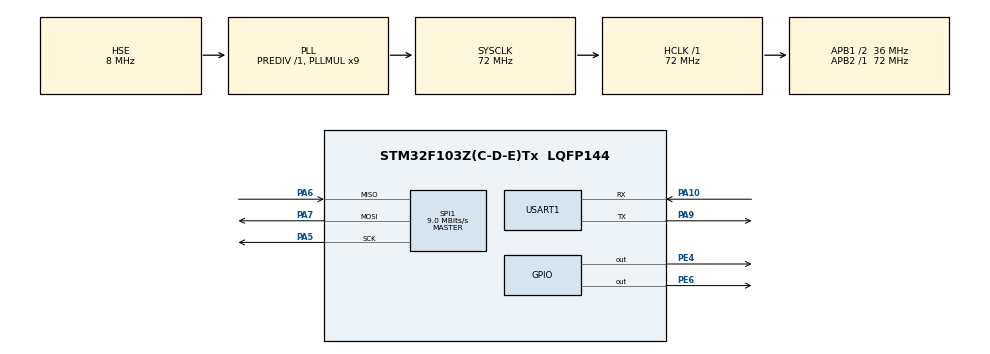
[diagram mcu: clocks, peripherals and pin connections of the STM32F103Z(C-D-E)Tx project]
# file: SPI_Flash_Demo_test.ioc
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Mcu.Family=STM32F1
Mcu.Name=STM32F103Z(C-D-E)Tx
Mcu.Package=LQFP144
NVIC.PriorityGroup=NVIC_PRIORITYGROUP_4
OSC_IN.Mode=HSE-External-Oscillator
OSC_IN.Signal=RCC_OSC_IN
OSC_OUT.Mode=HSE-External-Oscillator
OSC_OUT.Signal=RCC_OSC_OUT
PA10.Mode=Asynchronous
PA10.Signal=USART1_RX
PA13.Mode=Serial_Wire
PA13.Signal=SYS_JTMS-SWDIO
PA14.Mode=Serial_Wire
PA14.Signal=SYS_JTCK-SWCLK
PA5.Mode=Full_Duplex_Master
PA5.Signal=SPI1_SCK
PA6.Mode=Full_Duplex_Master
PA6.Signal=SPI1_MISO
PA7.Mode=Full_Duplex_Master
PA7.Signal=SPI1_MOSI
PA9.Mode=Asynchronous
PA9.Signal=USART1_TX
PE4.PinState=GPIO_PIN_SET
PE4.Signal=GPIO_Output
PE6.PinState=GPIO_PIN_SET
PE6.Signal=GPIO_Output
ProjectManager.HeapSize=0x200
ProjectManager.StackSize=0x400
ProjectManager.TargetToolchain=MDK-ARM V5.32
RCC.AHBFreq_Value=72000000
RCC.APB1CLKDivider=RCC_HCLK_DIV2
RCC.APB1Freq_Value=36000000
RCC.APB1TimFreq_Value=72000000
RCC.APB2Freq_Value=72000000
RCC.APB2TimFreq_Value=72000000
RCC.HCLKFreq_Value=72000000
RCC.PLLMUL=RCC_PLL_MUL9
RCC.PLLSourceVirtual=RCC_PLLSOURCE_HSE
RCC.SYSCLKFreq_VALUE=72000000
RCC.SYSCLKSource=RCC_SYSCLKSOURCE_PLLCLK
RCC.USBFreq_Value=72000000
SPI1.BaudRatePrescaler=SPI_BAUDRATEPRESCALER_8
SPI1.CalculateBaudRate=9.0 MBits/s
SPI1.Direction=SPI_DIRECTION_2LINES
SPI1.Mode=SPI_MODE_MASTER
SPI1.VirtualType=VM_MASTER
USART1.Parity=PARITY_ODD
USART1.VirtualMode=VM_ASYNC
USART1.WordLength=WORDLENGTH_9B
board=custom

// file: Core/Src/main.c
/* USER CODE BEGIN Header */
/**
  ******************************************************************************
  * @file           : main.c
  * @brief          : Main program body
  ******************************************************************************
  * @attention
  *
  * Copyright (c) 2026 STMicroelectronics.
  * All rights reserved.
  *
  * This software is licensed under terms that can be found in the LICENSE file
  * in the root directory of this software component.
  * If no LICENSE file comes with this software, it is provided AS-IS.
  *
  ******************************************************************************
  */
/* USER CODE END Header */
#include "main.h"

/* USER CODE BEGIN Includes */
#include "BSP_Usart_Redir.h"
/* USER CODE END Includes */

SPI_HandleTypeDef hspi1;

UART_HandleTypeDef huart1;

void SystemClock_Config(void);
static void MX_GPIO_Init(void);
static void MX_SPI1_Init(void);
static void MX_USART1_UART_Init(void);
/* USER CODE BEGIN PFP */
void W25Qxx_CS_Enable(void);
void W25Qxx_CS_Disable(void);
uint32_t W25Qxx_ReadID_V1(void);
uint32_t W25Qxx_ReadID_V2(void);

/* USER CODE END PFP */

int main(void)
{

  /* MCU Configuration--------------------------------------------------------*/

  /* Reset of all peripherals, Initializes the Flash interface and the Systick. */
  HAL_Init();

  /* Configure the system clock */
  SystemClock_Config();

  /* Initialize all configured peripherals */
  MX_GPIO_Init();
  MX_SPI1_Init();
  MX_USART1_UART_Init();
  /* USER CODE BEGIN 2 */
  BSP_Usart_Init(&huart1);

  uint32_t id = W25Qxx_ReadID_V2();
  printf("ID: 0x%x\n",id);
  /* USER CODE END 2 */

  /* Infinite loop */
  while (1)
  {

  }
}

void SystemClock_Config(void)
{
  RCC_OscInitTypeDef RCC_OscInitStruct = {0};
  RCC_ClkInitTypeDef RCC_ClkInitStruct = {0};

  /** Initializes the RCC Oscillators according to the specified parameters
  * in the RCC_OscInitTypeDef structure.
  */
  RCC_OscInitStruct.OscillatorType = RCC_OSCILLATORTYPE_HSE;
  RCC_OscInitStruct.HSEState = RCC_HSE_ON;
  RCC_OscInitStruct.HSEPredivValue = RCC_HSE_PREDIV_DIV1;
  RCC_OscInitStruct.HSIState = RCC_HSI_ON;
  RCC_OscInitStruct.PLL.PLLState = RCC_PLL_ON;
  RCC_OscInitStruct.PLL.PLLSource = RCC_PLLSOURCE_HSE;
  RCC_OscInitStruct.PLL.PLLMUL = RCC_PLL_MUL9;
  if (HAL_RCC_OscConfig(&RCC_OscInitStruct) != HAL_OK)
  {
    Error_Handler();
  }

  /** Initializes the CPU, AHB and APB buses clocks
  */
  RCC_ClkInitStruct.ClockType = RCC_CLOCKTYPE_HCLK|RCC_CLOCKTYPE_SYSCLK
                              |RCC_CLOCKTYPE_PCLK1|RCC_CLOCKTYPE_PCLK2;
  RCC_ClkInitStruct.SYSCLKSource = RCC_SYSCLKSOURCE_PLLCLK;
  RCC_ClkInitStruct.AHBCLKDivider = RCC_SYSCLK_DIV1;
  RCC_ClkInitStruct.APB1CLKDivider = RCC_HCLK_DIV2;
  RCC_ClkInitStruct.APB2CLKDivider = RCC_HCLK_DIV1;

  if (HAL_RCC_ClockConfig(&RCC_ClkInitStruct, FLASH_LATENCY_2) != HAL_OK)
  {
    Error_Handler();
  }
}

static void MX_SPI1_Init(void)
{

  /* SPI1 parameter configuration*/
  hspi1.Instance = SPI1;
  hspi1.Init.Mode = SPI_MODE_MASTER;
  hspi1.Init.Direction = SPI_DIRECTION_2LINES;
  hspi1.Init.DataSize = SPI_DATASIZE_8BIT;
  hspi1.Init.CLKPolarity = SPI_POLARITY_LOW;
  hspi1.Init.CLKPhase = SPI_PHASE_1EDGE;
  hspi1.Init.NSS = SPI_NSS_SOFT;
  hspi1.Init.BaudRatePrescaler = SPI_BAUDRATEPRESCALER_8;
  hspi1.Init.FirstBit = SPI_FIRSTBIT_MSB;
  hspi1.Init.TIMode = SPI_TIMODE_DISABLE;
  hspi1.Init.CRCCalculation = SPI_CRCCALCULATION_DISABLE;
  hspi1.Init.CRCPolynomial = 10;
  if (HAL_SPI_Init(&hspi1) != HAL_OK)
  {
    Error_Handler();
  }

}

static void MX_USART1_UART_Init(void)
{

  huart1.Instance = USART1;
  huart1.Init.BaudRate = 115200;
  huart1.Init.WordLength = UART_WORDLENGTH_9B;
  huart1.Init.StopBits = UART_STOPBITS_1;
  huart1.Init.Parity = UART_PARITY_ODD;
  huart1.Init.Mode = UART_MODE_TX_RX;
  huart1.Init.HwFlowCtl = UART_HWCONTROL_NONE;
  huart1.Init.OverSampling = UART_OVERSAMPLING_16;
  if (HAL_UART_Init(&huart1) != HAL_OK)
  {
    Error_Handler();
  }

}

static void MX_GPIO_Init(void)
{
  GPIO_InitTypeDef GPIO_InitStruct = {0};

  /* GPIO Ports Clock Enable */
  __HAL_RCC_GPIOE_CLK_ENABLE();
  __HAL_RCC_GPIOA_CLK_ENABLE();

  /*Configure GPIO pin Output Level */
  HAL_GPIO_WritePin(GPIOE, GPIO_PIN_4|GPIO_PIN_6, GPIO_PIN_SET);

  /*Configure GPIO pins : PE4 PE6 */
  GPIO_InitStruct.Pin = GPIO_PIN_4|GPIO_PIN_6;
  GPIO_InitStruct.Mode = GPIO_MODE_OUTPUT_PP;
  GPIO_InitStruct.Pull = GPIO_NOPULL;
  GPIO_InitStruct.Speed = GPIO_SPEED_FREQ_LOW;
  HAL_GPIO_Init(GPIOE, &GPIO_InitStruct);

}

/* USER CODE BEGIN 4 */

//片选
void W25Qxx_CS_Enable(void)
{
  HAL_GPIO_WritePin(GPIOE,GPIO_PIN_6,GPIO_PIN_RESET);
}

//取消片选
void W25Qxx_CS_Disable(void)
{
  HAL_GPIO_WritePin(GPIOE,GPIO_PIN_6,GPIO_PIN_SET);
}

//VERSION-1
uint32_t W25Qxx_ReadID_V1(void)
{
  uint8_t cmd = 0x9F;
  uint8_t tx_buffer[4] =  {cmd,0x00,0x00,0x00};
  uint8_t rx_buffer[4] = {0x00,0x00,0x00,0x00};
  uint16_t num = sizeof(tx_buffer) / sizeof(tx_buffer[0]);
  HAL_StatusTypeDef state = HAL_OK;
  uint32_t id = 0;
  W25Qxx_CS_Enable();

  state = HAL_SPI_TransmitReceive(&hspi1,tx_buffer,rx_buffer,num,HAL_MAX_DELAY);
  if(state != HAL_OK)
  {
    printf(">>>HAL_SPI_TransmitReceive error!\n");
    goto EXIT;
  }

  id = ((rx_buffer[1] << 16) | (rx_buffer[2] << 8) | (rx_buffer[3] << 0));
  // printf("rx_buf: %02X %02X %02X %02X\n", rx_buffer[0], rx_buffer[1], rx_buffer[2], rx_buffer[3]);

EXIT:
  W25Qxx_CS_Disable();

  return id;
}

//VERSION-2
uint32_t W25Qxx_ReadID_V2(void)
{
  uint8_t cmd = 0x9F;
  uint8_t id[3] = {0};
  HAL_StatusTypeDef state = HAL_OK;
  W25Qxx_CS_Enable();

  state = HAL_SPI_Transmit(&hspi1,&cmd,1,HAL_MAX_DELAY);
  if(state != HAL_OK)
  {
    printf(">>>HAL_SPI_Transmit error!\n");
    goto EXIT;
  }

  state = HAL_SPI_Receive(&hspi1,id,3,HAL_MAX_DELAY);
  if(state != HAL_OK)
  {
    printf(">>>HAL_SPI_Receive error!\n");
    goto EXIT;
  }

EXIT:
  W25Qxx_CS_Disable();

  return ((id[0] << 16) | (id[1] << 8) | (id[2] << 0)) ;
}

/* USER CODE END 4 */

void Error_Handler(void)
{
  __disable_irq();
  while (1)
  {
  }
}
